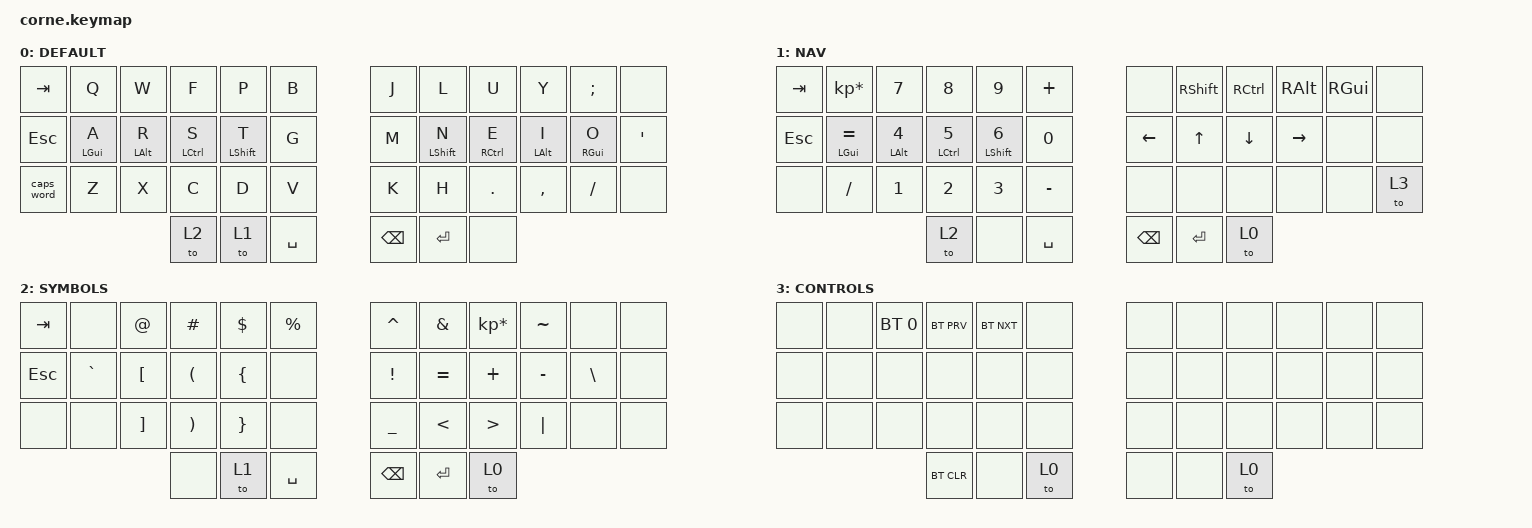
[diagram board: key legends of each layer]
/*
 * Copyright (c) 2020 The ZMK Contributors
 *
 * SPDX-License-Identifier: MIT
 */

#include <behaviors.dtsi>
#include <dt-bindings/zmk/bt.h>
#include <dt-bindings/zmk/keys.h>

#define DEFAULT 0
#define SYMBOLS 1
#define NAV 2
#define CONTROLS 3

/ {
    behaviors {
        hm: homerow_mods {
            compatible = "zmk,behavior-hold-tap";
            label = "HOMEROW_MODS";
            #binding-cells = <2>;
            tapping-term-ms = <150>;
            quick-tap-ms = <0>;
            flavor = "tap-preferred";
            bindings = <&kp>, <&kp>;
        };
    };

    keymap {
        compatible = "zmk,keymap";

        DEFAULT {
            // -----------------------------------------------------------------------------------------
            // | TAB |  Q  |  W  |  F  |  P  |  B  |   |  J  |  L   |  U  |  Y  |  ;  |      |
            // | ESC |  A  |  R  |  S  |  T  |  G  |   |  M  |  N   |  E  |  I  |  O  |  '   |
            // | SFT |  Z  |  X  |  C  |  D  |  V  |   |  K  |  H   |  .  |  ,  |  /  |      |
            //                   | L2  | L1  | SPC |   | BKP | RET  |     |

            bindings = <
&kp TAB     &kp Q       &kp W       &kp F        &kp P        &kp B        &kp J     &kp L        &kp U        &kp Y       &kp SEMI    &none
&kp ESC     &hm LGUI A  &hm LALT R  &hm LCTRL S  &hm LSHFT T  &kp G        &kp M     &hm LSHFT N  &hm RCTRL E  &hm LALT I  &hm RGUI O  &kp SQT
&caps_word  &kp Z       &kp X       &kp C        &kp D        &kp V        &kp K     &kp H        &kp DOT      &kp COMMA   &kp FSLH    &none
                                    &to 2        &to 1        &kp SPACE    &kp BSPC  &kp RET      &none
            >;
        };

        NAV {
            // -----------------------------------------------------------------------------------------
            // |  TAB |  *  |  7  |  8  |  9  |  +  |   | LFT | DWN |  UP  | RGT |     | PSCR |
            // |  ESC |  =  |  6  |  5  |  4  |  0  |   |     | SHF | CTRL | ALT | GUI |      |
            // |      |  /  |  3  |  2  |  1  |  -  |   |     |     |      |     |     |  L4  |
            //                    | L2  |     | SPC |   | BKP | RET |  L0  |

            bindings = <
&kp TAB  &kp KP_MULTIPLY  &kp N7             &kp N8        &kp N9              &kp PLUS     &none     &kp RSHIFT    &kp RIGHT_CONTROL  &kp RIGHT_ALT  &kp RIGHT_GUI  &none
&kp ESC  &mt LGUI EQUAL   &mt LALT NUMBER_4  &mt LCTRL N5  &mt LSHFT NUMBER_6  &kp N0       &kp LEFT  &kp UP_ARROW  &kp DOWN           &kp RIGHT      &none          &none
&none    &kp FSLH         &kp NUMBER_1       &kp N2        &kp NUMBER_3        &kp MINUS    &none     &none         &none              &none          &none          &to 3
                                             &to 2         &none               &kp SPACE    &kp BSPC  &kp RET       &to 0
            >;
        };

        SYMBOLS {
            // -----------------------------------------------------------------------------------------
            // | TAB |     |  @  |  #  |  $  |  %  |   |  ^  |  &  |  *  |  ~  |     |      |
            // | ESC |     |  `  |  [  |  (  |  {  |   |  !  |  =  |  +  |  -  |  \  |      |
            // |     |     |     |  ]  |  )  |  }  |   |  _  |  >  |  <  | "|" |     |      |
            //                   |     | L1  | SPC |   | ENT | RET | L0  |

            bindings = <
&kp TAB  &none      &kp AT             &kp HASH               &kp DLLR         &kp PRCNT    &kp CARET  &kp AMPS       &kp KP_MULTIPLY   &kp TILDE  &none     &none
&kp ESC  &kp GRAVE  &kp LEFT_BRACKET   &kp LEFT_PARENTHESIS   &kp LEFT_BRACE   &none        &kp EXCL   &kp EQUAL      &kp PLUS          &kp MINUS  &kp BSLH  &none
&none    &none      &kp RIGHT_BRACKET  &kp RIGHT_PARENTHESIS  &kp RIGHT_BRACE  &none        &kp UNDER  &kp LESS_THAN  &kp GREATER_THAN  &kp PIPE   &none     &none
                                       &none                  &to 1            &kp SPACE    &kp BSPC   &kp RET        &to 0
            >;
        };

        CONTROLS {
            bindings = <
&none  &none  &bt BT_SEL 0  &bt BT_PRV  &bt BT_NXT  &none    &none  &none  &none  &none  &none  &none
&none  &none  &none         &none       &none       &none    &none  &none  &none  &none  &none  &none
&none  &none  &none         &none       &none       &none    &none  &none  &none  &none  &none  &none
                            &bt BT_CLR  &none       &to 0    &none  &none  &to 0
            >;
        };
    };
};
